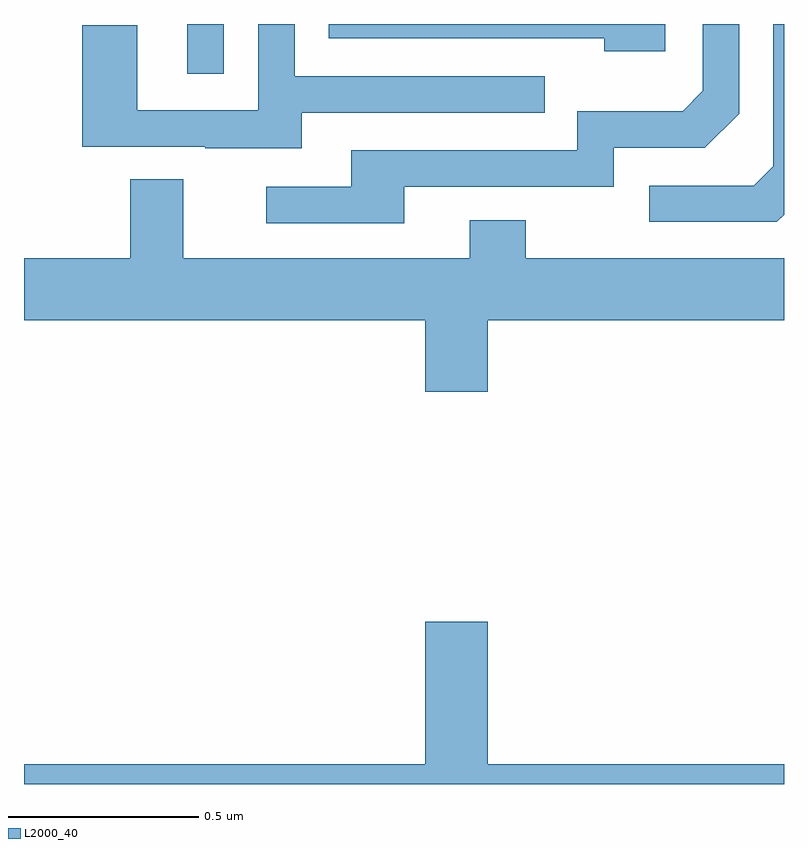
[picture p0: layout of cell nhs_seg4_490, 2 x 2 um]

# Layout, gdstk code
import gdstk
lib = gdstk.Library(unit=1e-6, precision=1e-09)
def R(c, l, rs):  # rectangles x0, y0, x1, y1
    for r in rs: c.add(gdstk.rectangle(r[:2], r[2:], *l))
def P(c, l, *ps):  # polygons
    for p in ps: c.add(gdstk.Polygon(p, *l))
L2000_40 = (2000, 40)

nhs_seg4_490 = lib.new_cell('nhs_seg4_490')
R(nhs_seg4_490, L2000_40, [(116.429,830.769,116.526,830.9)])
P(nhs_seg4_490, L2000_40, [(117.688,830.9),(116.802,830.9),(116.802,830.862),(117.527,830.862),(117.527,830.828),(117.688,830.828)],
  [(117.001,830.472),(117.552,830.472),(117.552,830.574),(117.792,830.574),(117.882,830.664),(117.882,830.9),(117.786,830.9),(117.786,830.724),(117.733,830.671),(117.456,830.671),(117.456,830.568),(116.861,830.568),(116.861,830.472),(116.637,830.472),(116.637,830.376),(117.001,830.376)],
  [(118,830.398),(118,830.9),(117.972,830.9),(117.972,830.526),(117.921,830.475),(117.645,830.475),(117.645,830.379),(117.981,830.379)],
  [(116.731,830.667),(117.371,830.667),(117.371,830.763),(116.712,830.763),(116.712,830.9),(116.616,830.9),(116.616,830.673),(116.298,830.673),(116.298,830.897),(116.153,830.897),(116.153,830.577),(116.477,830.577),(116.477,830.573),(116.731,830.573)],
  [(117.22,830.12),(118,830.12),(118,830.284),(117.321,830.284),(117.321,830.383),(117.173,830.383),(117.173,830.284),(116.419,830.284),(116.419,830.492),(116.279,830.492),(116.279,830.284),(116,830.284),(116,830.12),(117.056,830.12),(117.056,829.932),(117.22,829.932)],
  [(118,828.952),(117.22,828.952),(117.22,829.327),(117.056,829.327),(117.056,828.952),(116,828.952),(116,828.9),(118,828.9)])

lib.write_gds('nhs_seg4_490.gds')
